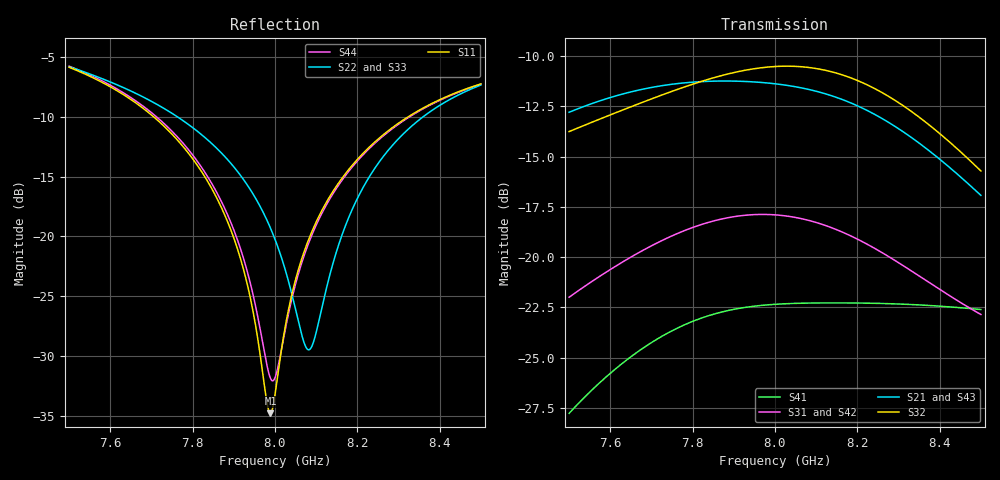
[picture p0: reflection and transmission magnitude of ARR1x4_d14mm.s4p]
! Touchstone file exported from HFSS 2025.1.0
!  File:  C:/Users/user/Documents/Ansoft/TFG_UWB-MIMO-Array.aedt
!  Generated:  05:34:55 PM Nov 20, 2026
!  Design:  ARR1x4_P01_MS2_dparam
!  Project:  TFG_UWB-MIMO-Array
!  Setup:  Setup_ch9
!  Solution:  Sweep_7p5_8p5
! Variables:
!  arr_d = 14mm
!  board_m = 13mm
!  board_x = 68mm
!  board_y = 26mm
!  cu_t = 0.035mm
!  line_w = 3.92mm
!  pad_xy = 22mm
!  pad_zn = 25mm
!  pad_zp = 33mm
!  patch_L = 7.322mm
!  patch_W = 11.421266mm
!  sub_h = 2.07mm
!  tr_l = 7.1mm
!  tr_w = 0.8mm
# GHz S MA R 50.000000
! Terminal data exported
! Port[1] = P1
! Port[2] = P2
! Port[3] = P3
! Port[4] = P4
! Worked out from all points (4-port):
!   1001 points, 7.5 GHz to 8.5 GHz, reference 50 ohm
!   strongest paths, dB at 7.5 GHz, 7.75 GHz, 8 GHz, 8.25 GHz, 8.5 GHz:
!     S32: -13.8, -11.7, -10.5, -11.7, -15.7
!     S21: -12.8, -11.4, -11.4, -13.0, -16.9
!     S43: -12.9, -11.5, -11.5, -13.1, -17.1
!     S31: -22.0, -18.9, -17.9, -19.7, -22.8
!     S42: -22.0, -19.0, -17.9, -19.6, -22.8
!     S41: -27.8, -23.7, -22.3, -22.3, -22.6
!   lowest |S11| = -34.8 dB at 7.989 GHz (marker M1), VSWR 1.04, Z = 51.7 + j0.649 ohm
!   |S11| at or under -10 dB: 7.705 GHz to 8.324 GHz (618.7 MHz wide, 7.72 % of centre)
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7.5  0.5091 162.9  0.2294 -10.7  0.07953 -117.6  0.0409 114.7
     0.2294 -10.7  0.5115 169.7  0.2053 -7.1  0.07927 -117.9
     0.07953 -117.6  0.2053 -7.1  0.5105 169.6  0.2276 -10.8
     0.0409 114.7  0.07927 -117.9  0.2276 -10.8  0.5144 162.7
7.838  0.168 121.1  0.2738 -68.7  0.1221 161.7  0.0715 1.3
       0.2738 -68.7  0.2518 138.9  0.277 -58.7  0.1217 161.6
       0.1221 161.7  0.277 -58.7  0.2495 138.4  0.2711 -68.7
       0.0715 1.3  0.1217 161.6  0.2711 -68.7  0.1759 119.6
7.923  0.07337 103.6  0.2737 -83.8  0.127 137.4  0.0749 -32.4
       0.2737 -83.8  0.1734 127.3  0.2911 -74.4  0.1268 137.2
       0.127 137.4  0.2911 -74.4  0.1711 126.7  0.2707 -83.8
       0.0749 -32.4  0.1268 137.2  0.2707 -83.8  0.08154 100.5
7.989  0.01823 20.1  0.2707 -95.8  0.1276 117.5  0.07622 -59.4
       0.2707 -95.8  0.1083 113.6  0.2975 -87.5  0.1275 117.4
       0.1276 117.5  0.2975 -87.5  0.1063 112.4  0.2675 -95.8
       0.07622 -59.4  0.1275 117.4  0.2675 -95.8  0.02553 34.0
8.084  0.09927 -67.3  0.2611 -113.7  0.1233 87.7  0.07691 -98.7
       0.2611 -113.7  0.03367 26.1  0.2962 -107.4  0.1233 87.5
       0.1233 87.7  0.2962 -107.4  0.03502 22.9  0.2577 -113.6
       0.07691 -98.7  0.1233 87.5  0.2577 -113.6  0.09597 -62.8
8.237  0.2432 -88.5  0.228 -143.2  0.1059 37.9  0.07682 -159.8
       0.228 -143.2  0.1865 -69.8  0.2643 -140.4  0.1061 37.8
       0.1059 37.9  0.2643 -140.4  0.1874 -69.4  0.2247 -143.1
       0.07682 -159.8  0.1061 37.8  0.2247 -143.1  0.2401 -87.0
8.5  0.4339 -116.9  0.1425 170.7  0.07203 -45.3  0.0741 114.2
     0.1425 170.7  0.4292 -110.2  0.1639 169.0  0.07248 -45.2
     0.07203 -45.3  0.1639 169.0  0.4281 -109.9  0.1398 171.0
     0.0741 114.2  0.07248 -45.2  0.1398 171.0  0.4322 -116.4
